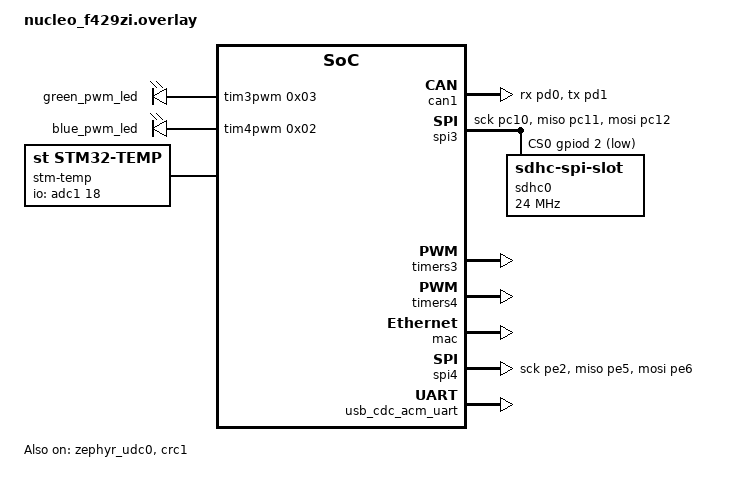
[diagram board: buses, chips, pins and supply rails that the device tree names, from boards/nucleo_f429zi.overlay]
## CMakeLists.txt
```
#
# Copyright (c) 2022 Lucas Dietrich <ld.adecy@gmail.com>
#
# SPDX-License-Identifier: Apache-2.0
#

# Read: https://github.com/zephyrproject-rtos/zephyr/blob/zephyr-v3.0.0/cmake/extensions.cmake#L33-L43

cmake_minimum_required(VERSION 3.13.1)

# Set where zephyr should look for custom boards
set(BOARD_ROOT ${CMAKE_CURRENT_SOURCE_DIR}/.)

# set following variables before calling the cmake command
if (NOT DEFINED BOARD)
    set(BOARD nucleo_f429zi)
endif()

if (BOARD STREQUAL "nucleo_f429zi")
    # OVERLAY_CONFIG: Additional Kconfig configuration fragment files. 
    # Multiple filenames can be separated with either spaces or semicolons. 
    # This can be useful in order to leave CONF_FILE at its default value, 
    # but “mix in” some additional configuration options.
    set(OVERLAY_CONFIG "overlays/nucleo_f429zi_spi_disk.conf \
    overlays/nucleo_f429zi_mcuboot.conf \
    overlays/nucleo_f429zi_usb_net.conf \
        ${OVERLAY_CONFIG}")
    message(STATUS "OVERLAY_CONFIG: ${OVERLAY_CONFIG}")

    # DTC_OVERLAY_FILE: One or more devicetree overlay files to use. 
    # Multiple files can be separated with semicolons. 
    # See Set devicetree overlays for examples and Introduction 
    # to devicetree for information about devicetree and Zephyr
    set(DTC_OVERLAY_FILE "${DTC_OVERLAY_FILE}")
    message(STATUS "DTC_OVERLAY_FILE: ${DTC_OVERLAY_FILE}")
endif()

# Debug.conf
# set(OVERLAY_CONFIG "overlays/debug.conf ${OVERLAY_CONFIG}")

set(ZEPHYR_EXTRA_MODULES
    ${CMAKE_CURRENT_SOURCE_DIR}/modules/lua
    ${CMAKE_CURRENT_SOURCE_DIR}/modules/caniot-lib
    ${CMAKE_CURRENT_SOURCE_DIR}/modules/embedc-url
)

find_package(Zephyr)

project(caniot-controller)

# This is terrible, try to move this to a dedicated CMakeLists.txt file
# 
set(embedded_lua_scripts "")
if(DEFINED CONFIG_APP_LUA_FS_DEFAULT_SCRIPTS)
    file(GLOB luascripts "${CMAKE_SOURCE_DIR}/scripts/lua/*.lua")
    file(GLOB officialscripts "${CMAKE_SOURCE_DIR}/modules/lua/testes/*.lua")
        list (APPEND luascripts ${officialscripts})
    foreach(file ${luascripts})
        get_filename_component(filename ${file} NAME)
        get_filename_component(filepath ${file} PATH)
        message(STATUS "embedding ${filepath}/${filename} into elf")
        add_custom_command(
            OUTPUT ${CMAKE_CURRENT_BINARY_DIR}/embluaobj/${filename}.o
            WORKING_DIRECTORY ${filepath}
            COMMAND ${CMAKE_OBJCOPY}
            ARGS -I binary --output-target elf32-i386 --binary-architecture i386 ${filename} ${CMAKE_CURRENT_BINARY_DIR}/embluaobj/${filename}.o
        )
        # Find a way to automatically choose output-target and binary-architecture
        #   e.g. using : $<TARGET_PROPERTY:bintools,elfconvert_flag_outtarget>
        list(APPEND embedded_lua_scripts ${CMAKE_CURRENT_BINARY_DIR}/embluaobj/${filename}.o)
    endforeach()
endif()

target_sources(app PRIVATE ${embedded_lua_scripts})

zephyr_linker_sources(SECTIONS iterables.ld)

# ======= SOURCE FILES =======
add_subdirectory(src)

# ======= INCLUDE FILES =======
zephyr_include_directories(${APPLICATION_SOURCE_DIR}/src/mbedtls_config)

target_include_directories(app PRIVATE src)
target_include_directories(app PRIVATE modules)

# ======= LINK MBEDTLS WITH APPLICATION =======
zephyr_library_link_libraries_ifdef(CONFIG_MBEDTLS mbedTLS)
```

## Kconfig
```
#
# Copyright (c) 2022 Lucas Dietrich <ld.adecy@gmail.com>
#
# SPDX-License-Identifier: Apache-2.0
#

menu "Application configuration: CANIOT Controller"

# Your application configuration options go here

# Sources Kconfig.zephyr in the Zephyr root directory.
#
# Note: All 'source' statements work relative to the Zephyr root directory (due
# to the $srctree environment variable being set to $ZEPHYR_BASE). If you want
# to 'source' relative to the current Kconfig file instead, use 'rsource' (or a
# path relative to the Zephyr root).

rsource "./src/cantcp/Kconfig"
rsource "./src/dfu/Kconfig"
rsource "./src/http_server/Kconfig"
rsource "./src/discovery_server/Kconfig"
rsource "./src/lua/Kconfig"
rsource "./src/ha/Kconfig"
rsource "./src/creds/Kconfig"
rsource "./src/cloud/Kconfig"
rsource "./src/fs/Kconfig"
rsource "./src/ble/Kconfig"
rsource "./src/can/Kconfig"
rsource "./src/mbedtls_config/Kconfig"

menu "Miscellaneous"

config APP_SYSTEM_MONITORING
        bool "Enable system monitoring"
        select CONFIG_MBEDTLS_MEMORY_DEBUG
        default n
        help
                Enable system monitoring e.g. (mbedTLS heap usage, ...)

config APP_BIG_BUFFER_TO_CCM
        bool "Place big buffers in CCM memory"
        # depends on CONFIG_STM32_CCM
        # depends on SOC_SERIES_STM32F4X
        default n
        help
                Place application big buffer in CCM location

config APP_PRINTF_1SEC_COUNTER
        bool "Enable 1 second counter in printf"
        default n
        depends on QEMU_TARGET
        help
                Enable 1 second counter in printf

# artificaly enable HAL_CRC drivers from STM32CUBE
# read : https://github.com/zephyrproject-rtos/zephyr/issues/37543
config MY_STM32_HAL
        bool "Enable STM32 HAL drivers (custom)"
        default n
        depends on SOC_FAMILY_STM32
        select USE_STM32_HAL_CRC
        select USE_STM32_HAL_GPIO
        
endmenu

endmenu # caniot-controller

menu "Zephyr RTOS Configuration"

source "Kconfig.zephyr"

endmenu
```

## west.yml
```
# Copyright (c) 2021 Nordic Semiconductor ASA
# SPDX-License-Identifier: Apache-2.0

manifest:
  self:
    path: zephyr-caniot-controller

  remotes:
    - name: zephyrproject-rtos
      url-base: https://github.com/zephyrproject-rtos
    - name: zephyrproject-rtos-fork
      url-base: https://github.com/lucasdietrich
      
  projects:
    - name: zephyr
      remote: zephyrproject-rtos-fork
      revision: caniot-controller-v4.0.0 # A project revision can be a branch, tag, or SHA.
      import: true
      
```

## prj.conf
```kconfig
# https://docs.zephyrproject.org/latest/reference/kconfig/index-all.html

# -----------------------------------------------------------------------------

# CONFIG_KERNEL_BIN_NAME="zephyr"

# -----------------------------------------------------------------------------

# Print a banner on the UART on startup.
CONFIG_BOOT_BANNER=y

# -----------------------------------------------------------------------------

# GENERAL

# fs function needs a lot of stack/ram in general
CONFIG_MAIN_STACK_SIZE=2048

# https://docs.zephyrproject.org/latest/reference/kernel/threads/workqueue.html#configuration-options
CONFIG_SYSTEM_WORKQUEUE_STACK_SIZE=2048
CONFIG_SYSTEM_WORKQUEUE_PRIORITY=-1
CONFIG_SYSTEM_WORKQUEUE_NO_YIELD=n

CONFIG_INIT_STACKS=y

CONFIG_TIMEOUT_64BIT=y

CONFIG_POSIX_API=y

CONFIG_NEWLIB_LIBC=y
CONFIG_NEWLIB_LIBC_NANO=n
CONFIG_NEWLIB_LIBC_MIN_REQUIRED_HEAP_SIZE=4096
CONFIG_NEWLIB_LIBC_FLOAT_PRINTF=y
CONFIG_NEWLIB_LIBC_FLOAT_SCANF=y

CONFIG_HEAP_MEM_POOL_SIZE=2048
CONFIG_SYS_HEAP_RUNTIME_STATS=y

CONFIG_POLL=y

# CONFIG_CBPRINTF_PACKAGE_LOG_LEVEL_ERR=y

# -----------------------------------------------------------------------------

# LOGGING
# https://docs.zephyrproject.org/latest/reference/logging/index.html
CONFIG_LOG=y
CONFIG_PRINTK=y

# CONFIG_CONSOLE=y
# CONFIG_UART_CONSOLE=y
# CONFIG_STDOUT_CONSOLE=y

CONFIG_CBPRINTF_FP_SUPPORT=y

# CONFIG_LOG_STRDUP_MAX_STRING=64
# CONFIG_LOG_STRDUP_BUF_COUNT=42
# CONFIG_LOG_BUFFER_SIZE=2048
# CONFIG_LOG_MODE_DEFERRED=n

# enable to immediate while debugging or when having immediate response is needed
# disable to log time sensitive functions (need a bit more RAM for a thread and pools)
CONFIG_LOG_MODE_IMMEDIATE=n


# -----------------------------------------------------------------------------

# DEBUG
CONFIG_ASSERT=n
# CONFIG_ASSERT_ON_ERRORS=y
# CONFIG_NO_RUNTIME_CHECKS=n
CONFIG_RUNTIME_ERROR_CHECKS=y


CONFIG_THREAD_MONITOR=n

# https://docs.zephyrproject.org/latest/guides/flash_debug/thread-analyzer.html
# -> disable CONFIG_LOG_MODE_IMMEDIATE when using THREAD analyser
CONFIG_THREAD_NAME=y
CONFIG_THREAD_ANALYZER=n            
# CONFIG_THREAD_ANALYZER_USE_PRINTK=n
# CONFIG_THREAD_ANALYZER_USE_LOG=y
# CONFIG_THREAD_ANALYZER_AUTO=y
# CONFIG_THREAD_ANALYZER_AUTO_INTERVAL=10
# THREAD_ANALYZER_AUTO_STACK_SIZE
CONFIG_THREAD_RUNTIME_STATS=y

# -----------------------------------------------------------------------------

CONFIG_NETWORKING=y
CONFIG_NET_UDP=y
CONFIG_NET_TCP=y

CONFIG_NET_IPV4=y
CONFIG_NET_IPV6=n
CONFIG_NET_TCP=y
CONFIG_NET_ARP=y
CONFIG_NET_UDP=y

CONFIG_NET_STATISTICS=y
CONFIG_NET_STATISTICS_USER_API=y
CONFIG_NET_STATISTICS_IPV4=y
CONFIG_NET_STATISTICS_ICMP=y
CONFIG_NET_STATISTICS_TCP=y
CONFIG_NET_STATISTICS_UDP=y

CONFIG_NET_CONNECTION_MANAGER=n

CONFIG_NET_HOSTNAME_ENABLE=y
CONFIG_NET_HOSTNAME="caniot-ctrl"
CONFIG_POSIX_UNAME_NODENAME_LEN=12

# TO DEBUG
# CONFIG_NET_DRIVERS=y
# CONFIG_NET_LOOPBACK=y
# CONFIG_NET_LOOPBACK_LOG_LEVEL_DBG=y
CONFIG_NET_IF_MAX_IPV4_COUNT=2

CONFIG_NET_MGMT=y
CONFIG_NET_MGMT_EVENT=y
CONFIG_NET_MGMT_EVENT_LOG_LEVEL_INF=y

CONFIG_NET_SOCKETS=y

CONFIG_NET_SOCKETS_SOCKOPT_TLS=y
CONFIG_NET_SOCKETS_TLS_MAX_CONTEXTS=4
CONFIG_NET_SOCKETS_TLS_MAX_CLIENT_SESSION_COUNT=4

CONFIG_NET_DEFAULT_IF_ETHERNET=y

CONFIG_NET_SOCKETS_TLS_PEER_VERIFY_CALLBACK=y

# 2 for HTTPS server + 1 CA if peer verification is enabled
# 3 for AWS IoT
CONFIG_TLS_MAX_CREDENTIALS_NUMBER=6

# https://github.com/zephyrproject-rtos/zephyr/issues/39705
# incompatible with CONFIG_POSIX_API option
# CONFIG_NET_SOCKETS_POSIX_NAMES=y

CONFIG_NET_BUF_DATA_SIZE=128

CONFIG_NET_PKT_RX_COUNT=16
CONFIG_NET_BUF_RX_COUNT=36

CONFIG_NET_PKT_TX_COUNT=48
CONFIG_NET_BUF_TX_COUNT=192

# CONFIG_NET_TCP_MAX_SEND_WINDOW_SIZE=16384
# CONFIG_NET_TCP_MAX_RECV_WINDOW_SIZE=16384

CONFIG_DNS_RESOLVER=y
CONFIG_DNS_RESOLVER_ADDITIONAL_BUF_CTR=1
CONFIG_DNS_RESOLVER_ADDITIONAL_QUERIES=1
CONFIG_DNS_RESOLVER_AI_MAX_ENTRIES=1

CONFIG_DNS_RESOLVER_MAX_SERVERS=1

CONFIG_DNS_RESOLVER_LOG_LEVEL_DBG=n

# CONFIG_DNS_RESOLVER_AUTO_INIT=y
# CONFIG_MDNS_RESOLVER=y
# CONFIG_LLMNR_RESOLVER=n
# CONFIG_DNS_RESOLVER_MAX_SERVERS=2
# CONFIG_DNS_SERVER_IP_ADDRESSES=y
# CONFIG_DNS_NUM_CONCUR_QUERIES=5

# https://docs.zephyrproject.org/latest/reference/kconfig/CONFIG_DNS_SERVER1.html#std-kconfig-CONFIG_DNS_SERVER1
# Set CONFIG_DNS_RESOLVER_MAX_SERVERS to 2 if enabling next configuration option
# CONFIG_DNS_SERVER_IP_ADDRESSES=y
# CONFIG_DNS_SERVER1="192.168.10.6"

# Config SNTP
CONFIG_SNTP=y
CONFIG_SNTP_LOG_LEVEL_DBG=n

CONFIG_NET_LOG=y
# IMPORTANT - CONFIG_NET_SOCKETS_LOG_LEVEL_DBG should also be enabled when debugging MBEDTLS stack
CONFIG_NET_SOCKETS_LOG_LEVEL_DBG=n
CONFIG_NET_IF_LOG_LEVEL_DBG=n
CONFIG_NET_TCP_LOG_LEVEL_DBG=n
CONFIG_NET_UDP_LOG_LEVEL_DBG=n
CONFIG_NET_CONFIG_LOG_LEVEL_DBG=n
CONFIG_NET_L2_ETHERNET_LOG_LEVEL_INF=n
CONFIG_NET_CORE_LOG_LEVEL_DBG=n
CONFIG_NET_CONN_LOG_LEVEL_DBG=n

CONFIG_NET_CONFIG_SETTINGS=n
CONFIG_NET_CONFIG_AUTO_INIT=n
CONFIG_NET_CONFIG_CLOCK_SNTP_INIT=n
CONFIG_NET_CONFIG_NEED_IPV6=n
CONFIG_NET_CONFIG_NEED_IPV4=n

CONFIG_NET_MAX_CONN=12
CONFIG_NET_MAX_CONTEXTS=14
CONFIG_POSIX_MAX_FDS=16
CONFIG_NET_SOCKETS_POLL_MAX=7

# https://docs.zephyrproject.org/latest/reference/kconfig/CONFIG_NET_TCP_TIME_WAIT_DELAY.html#std-kconfig-CONFIG_NET_TCP_TIME_WAIT_DELAY
# free TCP context immediately when closed
CONFIG_NET_TCP_TIME_WAIT_DELAY=0

# https://docs.zephyrproject.org/latest/reference/kconfig/CONFIG_NET_TCP_BACKLOG_SIZE.html#std-kconfig-CONFIG_NET_TCP_BACKLOG_SIZE
# CONFIG_NET_TCP_BACKLOG_SIZE=5

# -----------------------------------------------------------------------------

CONFIG_MBEDTLS_BUILTIN=y

# we disable heap as we will allocate it manually in CCM using mbedtls_memory_buffer_alloc_init
CONFIG_MBEDTLS_ENABLE_HEAP=n
# CONFIG_MBEDTLS_HEAP_SIZE=65536

CONFIG_MBEDTLS_SSL_MAX_CONTENT_LEN=10240
CONFIG_NET_SOCKETS_TLS_SET_MAX_FRAGMENT_LENGTH=y

# TODO: Evaluate use of following options
# CONFIG_CUSTOM_MBEDTLS_CFG_FILE=y
# CONFIG_MBEDTLS_CFG_FILE="config-mini-tls1_2.h"

CONFIG_MBEDTLS_CFG_FILE="config-tls-generic.h"
CONFIG_MBEDTLS_USER_CONFIG_ENABLE=y
CONFIG_MBEDTLS_USER_CONFIG_FILE="mbedtls-cfg.h"

CONFIG_MBEDTLS_CIPHER=y

# CONFIG_MBEDTLS_ALL=y
# CONFIG_MBEDTLS_MD4=y
# CONFIG_MBEDTLS_MD5=y
# CONFIG_MBEDTLS_SHA1=y
CONFIG_MBEDTLS_SHA256=y
CONFIG_MBEDTLS_SHA384=y
CONFIG_MBEDTLS_SHA512=y
# CONFIG_MBEDTLS_POLY1305=y
# CONFIG_MBEDTLS_CMAC=y

# CONFIG_MBEDTLS_CIPHER_ALL_ENABLED=y
# CONFIG_MBEDTLS_CIPHER_AES_ENABLED=y
# CONFIG_MBEDTLS_CIPHER_CAMELLIA_ENABLED=y
# CONFIG_MBEDTLS_CIPHER_DES_ENABLED=y
# CONFIG_MBEDTLS_CIPHER_ARC4_ENABLED=y
# CONFIG_MBEDTLS_CIPHER_CHACHA20_ENABLED=y
# CONFIG_MBEDTLS_CIPHER_BLOWFISH_ENABLED=y
# CONFIG_MBEDTLS_CIPHER_CCM_ENABLED=y
CONFIG_MBEDTLS_CIPHER_GCM_ENABLED=y
# CONFIG_MBEDTLS_CIPHER_MODE_XTS_ENABLED=y
CONFIG_MBEDTLS_CIPHER_MODE_CBC_ENABLED=y
# CONFIG_MBEDTLS_CIPHER_MODE_CTR_ENABLED=y
# CONFIG_MBEDTLS_CHACHAPOLY_AEAD_ENABLED=y

CONFIG_MBEDTLS_KEY_EXCHANGE_ALL_ENABLED=y
# CONFIG_MBEDTLS_KEY_EXCHANGE_PSK_ENABLED=y
# CONFIG_MBEDTLS_KEY_EXCHANGE_DHE_PSK_ENABLED=y
# CONFIG_MBEDTLS_KEY_EXCHANGE_ECDHE_PSK_ENABLED=y
# CONFIG_MBEDTLS_KEY_EXCHANGE_RSA_PSK_ENABLED=y
# CONFIG_MBEDTLS_KEY_EXCHANGE_RSA_ENABLED=y
# CONFIG_MBEDTLS_KEY_EXCHANGE_DHE_RSA_ENABLED=y
# CONFIG_MBEDTLS_KEY_EXCHANGE_ECDHE_RSA_ENABLED=y
# CONFIG_MBEDTLS_KEY_EXCHANGE_ECDHE_ECDSA_ENABLED=y
# CONFIG_MBEDTLS_KEY_EXCHANGE_ECDH_ECDSA_ENABLED=y
# CONFIG_MBEDTLS_KEY_EXCHANGE_ECDH_RSA_ENABLED=y
# CONFIG_MBEDTLS_KEY_EXCHANGE_ECJPAKE_ENABLED=y

CONFIG_MBEDTLS_ECP_C=y
CONFIG_MBEDTLS_ECDH_C=y
CONFIG_MBEDTLS_ECDSA_C=y
CONFIG_MBEDTLS_ECJPAKE_C=y

CONFIG_MBEDTLS_ECP_ALL_ENABLED=y
# CONFIG_MBEDTLS_ECP_DP_SECP192R1_ENABLED=y
# CONFIG_MBEDTLS_ECP_DP_SECP192R1_ENABLED=y
# CONFIG_MBEDTLS_ECP_DP_SECP224R1_ENABLED=y
# CONFIG_MBEDTLS_ECP_DP_SECP256R1_ENABLED=y
# CONFIG_MBEDTLS_ECP_DP_SECP384R1_ENABLED=y
# CONFIG_MBEDTLS_ECP_DP_SECP521R1_ENABLED=y
# CONFIG_MBEDTLS_ECP_DP_SECP192K1_ENABLED=y
# CONFIG_MBEDTLS_ECP_DP_SECP224K1_ENABLED=y
# CONFIG_MBEDTLS_ECP_DP_SECP256K1_ENABLED=y
# CONFIG_MBEDTLS_ECP_DP_BP256R1_ENABLED=y
# CONFIG_MBEDTLS_ECP_DP_BP384R1_ENABLED=y
# CONFIG_MBEDTLS_ECP_DP_BP512R1_ENABLED=y
# CONFIG_MBEDTLS_ECP_DP_CURVE25519_ENABLED=y
# CONFIG_MBEDTLS_ECP_DP_CURVE448_ENABLED=y
# CONFIG_MBEDTLS_ECP_NIST_OPTIM=y

CONFIG_MBEDTLS_PEM_CERTIFICATE_FORMAT=y

# Enable hardware acceleration
CONFIG_CRYPTO=y

# Enable hardware entropy generator
CONFIG_ENTROPY_GENERATOR=y

# don't use test random generator in production
CONFIG_TEST_RANDOM_GENERATOR=n

CONFIG_MBEDTLS_TLS_VERSION_1_2=y
# CONFIG_MBEDTLS_TLS_VERSION_1_3=y

# Debug
CONFIG_MBEDTLS_DEBUG=n
CONFIG_MBEDTLS_LOG_LEVEL_DBG=n
CONFIG_MBEDTLS_MEMORY_DEBUG=y

# -----------------------------------------------------------------------------

CONFIG_MPU_ALLOW_FLASH_WRITE=y

CONFIG_FLASH=y
CONFIG_FLASH_MAP=y
CONFIG_FLASH_PAGE_LAYOUT=y

CONFIG_NVS=y
CONFIG_NVS_LOG_LEVEL_DBG=y

CONFIG_FILE_SYSTEM=y
CONFIG_FILE_SYSTEM_MAX_TYPES=1

CONFIG_DISK_ACCESS=y
CONFIG_DISK_LOG_LEVEL_DBG=y

CONFIG_FAT_FILESYSTEM_ELM=y
CONFIG_FS_FATFS_EXFAT=y
CONFIG_FS_LOG_LEVEL_INF=y

# -----------------------------------------------------------------------------

CONFIG_ZVFS_EVENTFD=y
CONFIG_ZVFS_EVENTFD_MAX=2

# -----------------------------------------------------------------------------

CONFIG_HTTP_CLIENT=y
CONFIG_HTTP_PARSER=y
CONFIG_JSON_LIBRARY=y

# -----------------------------------------------------------------------------

CONFIG_MQTT_LIB=y
CONFIG_MQTT_LIB_TLS=y
CONFIG_MQTT_KEEPALIVE=60
# CONFIG_MQTT_LOG_LEVEL_DBG=y

# -----------------------------------------------------------------------------

CONFIG_SYS_MEM_BLOCKS=y

# -----------------------------------------------------------------------------

# CONFIG_PICOLIBC_MODULE=y

# -----------------------------------------------------------------------------

CONFIG_LUA=n
# CONFIG_APP_LUA_FS_DEFAULT_SCRIPTS=y
# CONFIG_APP_LUA_AUTORUN_SCRIPTS=y

# -----------------------------------------------------------------------------

CONFIG_APP_DISCOVERY_SERVER=y
# CONFIG_APP_DISCOVERY_SERVER_LOG_LEVEL=4

# -----------------------------------------------------------------------------

CONFIG_APP_CLOUD=y

# -----------------------------------------------------------------------------

CONFIG_APP_HTTP_SERVER=y
CONFIG_APP_HTTP_REQUEST_HEADERS_BUFFER_SIZE=352
CONFIG_APP_HTTP_SERVER_NONSECURE=y
CONFIG_APP_HTTP_SERVER_SECURE=y
CONFIG_APP_HTTP_SERVER_VERIFY_CLIENT=y

# -----------------------------------------------------------------------------

CONFIG_EMBEDC_URL_PARSER=y
```

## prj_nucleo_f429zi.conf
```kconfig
# -----------------------------------------------------------------------------

# Application specific

CONFIG_DISCOVERY_SERVER=y
# CONFIG_DISCOVERY_SERVER_LOG_LEVEL=4

CONFIG_MAX_HTTP_CONNECTIONS=3

CONFIG_SYSTEM_MONITORING=y

CONFIG_CANTCP_SERVER=n

CONFIG_CANIOT_CONTROLLER=y

CONFIG_BLE_CONTROLLER=y

CONFIG_HTTP_TEST_SERVER=y

# -----------------------------------------------------------------------------

# CONFIG_LOG_BUFFER_SIZE=2048
# CONFIG_LOG_MODE_DEFERRED=n

# enable to immediate while debugging or when having immediate response is needed
# disable to log time sensitive functions (need a bit more RAM for a thread and pools)

# -----------------------------------------------------------------------------

CONFIG_ENTROPY_DEVICE_RANDOM_GENERATOR=y

CONFIG_ETH_STM32_HAL_RANDOM_MAC=n
CONFIG_ETH_STM32_HAL_MAC3=0x77
CONFIG_ETH_STM32_HAL_MAC4=0x77
CONFIG_ETH_STM32_HAL_MAC5=0x77

# not entropy in delay
CONFIG_NET_DHCPV4=y
CONFIG_NET_DHCPV4_INITIAL_DELAY_MAX=2
CONFIG_NET_DHCPV4_LOG_LEVEL_DBG=n

# -----------------------------------------------------------------------------

CONFIG_SHELL=n
CONFIG_NET_SHELL=n
CONFIG_FLASH_SHELL=n

# -----------------------------------------------------------------------------

CONFIG_CAN=y
CONFIG_CAN_INIT_PRIORITY=80
CONFIG_CAN_MAX_FILTER=5
# this is default
# CONFIG_CAN_LOOPBACK_TX_MSGQ_SIZE=16
# CONFIG_CAN_LOOPBACK_TX_THREAD_PRIORITY=2
# CONFIG_CAN_LOOPBACK_TX_THREAD_STACK_SIZE=256
CONFIG_CAN_LOG_LEVEL_DBG=n
CONFIG_CAN_LOOPBACK=n

# -----------------------------------------------------------------------------

CONFIG_GPIO=y
CONFIG_PWM=y
CONFIG_PWM_LOG_LEVEL_DBG=y

# -----------------------------------------------------------------------------

CONFIG_SERIAL=y
CONFIG_UART_ASYNC_API=y
CONFIG_DMA_LOG_LEVEL_DBG=y
# CONFIG_UART_STM32=y (autoselected)

# -----------------------------------------------------------------------------

CONFIG_ADC=y
CONFIG_ADC_LOG_LEVEL_DBG=n

# -----------------------------------------------------------------------------

CONFIG_SENSOR=y
CONFIG_STM32_TEMP=y

# -----------------------------------------------------------------------------

CONFIG_UART_IPC=y
CONFIG_UART_IPC_FULL=y
CONFIG_UART_IPC_DEBUG_GPIO_STM32=y
CONFIG_UART_IPC_PING=y
CONFIG_UART_IPC_PING_PERIOD=1000
CONFIG_UART_IPC_STATS=y
CONFIG_UART_IPC_EVENT_API=y

# -----------------------------------------------------------------------------

CONFIG_CANIOT_LIB=y
CONFIG_CANIOT_LOG_LEVEL=2
CONFIG_CANIOT_ASSERT=n
CONFIG_CANIOT_MAX_PENDING_QUERIES=6
CONFIG_CANIOT_DRIVERS_API=n
CONFIG_CANIOT_CTRL_DRIVERS_API=y

# -----------------------------------------------------------------------------

CONFIG_MY_STM32_HAL=y

# -----------------------------------------------------------------------------
```

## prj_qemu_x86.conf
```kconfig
# -----------------------------------------------------------------------------

# Application specific

CONFIG_DISCOVERY_SERVER=y
# CONFIG_DISCOVERY_SERVER_LOG_LEVEL=4

CONFIG_MAX_HTTP_CONNECTIONS=3

CONFIG_SYSTEM_MONITORING=y

CONFIG_CANTCP_SERVER=n

CONFIG_CANIOT_CONTROLLER=n

CONFIG_BLE_CONTROLLER=n

CONFIG_HTTP_TEST_SERVER=y

# -----------------------------------------------------------------------------

CONFIG_ENTROPY_DEVICE_RANDOM_GENERATOR=n
CONFIG_TEST_RANDOM_GENERATOR=y

# -----------------------------------------------------------------------------

CONFIG_USE_DT_CODE_PARTITION=n

# -----------------------------------------------------------------------------

CONFIG_QEMU_ICOUNT=n

# -----------------------------------------------------------------------------

CONFIG_NET_LOG=y
CONFIG_NET_SOCKETS_LOG_LEVEL_DBG=n

# Network application options and configuration for QEMU
CONFIG_NET_CONFIG_SETTINGS=y
CONFIG_NET_CONFIG_NEED_IPV6=y
CONFIG_NET_CONFIG_MY_IPV6_ADDR="2001:db8::1"
CONFIG_NET_CONFIG_PEER_IPV6_ADDR="2001:db8::2"
CONFIG_NET_CONFIG_NEED_IPV4=y
CONFIG_NET_CONFIG_MY_IPV4_ADDR="192.0.2.1"
CONFIG_NET_CONFIG_PEER_IPV4_ADDR="192.0.2.2"

CONFIG_NET_CONFIG_MY_IPV4_GW="192.0.2.2"

CONFIG_NET_CONFIG_AUTO_INIT=y
CONFIG_NET_CONFIG_CLOCK_SNTP_INIT=n

CONFIG_NET_DHCPV4=n

CONFIG_DNS_RESOLVER_MAX_SERVERS=1
CONFIG_DNS_SERVER_IP_ADDRESSES=y
CONFIG_DNS_SERVER1="192.168.10.6"
CONFIG_DNS_RESOLVER_LOG_LEVEL_DBG=n

CONFIG_NET_SOCKETS_DNS_TIMEOUT=5000

CONFIG_NET_STATISTICS=y
CONFIG_NET_STATISTICS_USER_API=y
CONFIG_NET_STATISTICS_IPV4=y
CONFIG_NET_STATISTICS_ICMP=y
CONFIG_NET_STATISTICS_TCP=y
CONFIG_NET_STATISTICS_UDP=y

CONFIG_NET_BUF_DATA_SIZE=512
# default 36
CONFIG_NET_PKT_RX_COUNT=256
CONFIG_NET_PKT_TX_COUNT=256
CONFIG_NET_BUF_RX_COUNT=256
CONFIG_NET_BUF_TX_COUNT=256

# -----------------------------------------------------------------------------

CONFIG_CANIOT_LIB=y
CONFIG_CANIOT_LOG_LEVEL=2
CONFIG_CANIOT_ASSERT=n
CONFIG_CANIOT_MAX_PENDING_QUERIES=6
CONFIG_CANIOT_DRIVERS_API=n
CONFIG_CANIOT_CTRL_DRIVERS_API=y

# -----------------------------------------------------------------------------

CONFIG_SHELL=n

# Net shell(s)
# https://docs.zephyrproject.org/latest/services/shell/index.html#shell-api
# https://docs.zephyrproject.org/latest/connectivity/networking/api/net_shell.html

CONFIG_NET_SHELL=n
# CONFIG_NET_ROUTE=y

# -----------------------------------------------------------------------------

# CONFIG_LOG_STRDUP_MAX_STRING=64
# CONFIG_LOG_STRDUP_BUF_COUNT=42
# CONFIG_LOG_BUFFER_SIZE=2048
# CONFIG_LOG_MODE_DEFERRED=n

# enable to immediate while debugging or when having immediate response is needed
# disable to log time sensitive functions (need a bit more RAM for a thread and pools)
CONFIG_LOG_MODE_IMMEDIATE=y
# -----------------------------------------------------------------------------

CONFIG_ASSERT=y
```

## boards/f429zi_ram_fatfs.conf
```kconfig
# We need to free space in SRAM for RAM FAT FS and for libc HEAP
CONFIG_MBEDTLS_CUSTOM_HEAP_SIZE=32768
CONFIG_MBEDTLS_CUSTOM_HEAP_CCM=y
CONFIG_APP_BIG_BUFFER_TO_CCM=y

# File system

# If using FATFS in RAM with low memory, you'll need to decrease the 
# RAMDISK_SECTOR_SIZE value in zephyr/drivers/disk/ramdisk.c
# (it would be great to make it configurable, but it's not possible at the moment)
CONFIG_DISK_DRIVER_RAM=y
CONFIG_DISK_RAM_VOLUME_SIZE=64
CONFIG_DISK_RAM_VOLUME_NAME="RAM"

CONFIG_FS_FATFS_MOUNT_MKFS=y
```

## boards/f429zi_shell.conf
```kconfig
CONFIG_SHELL=y

CONFIG_FLASH_SHELL=y

CONFIG_HEAP_MEM_POOL_SIZE=2048
CONFIG_FILE_SYSTEM_SHELL=y

# Net shell(s)
# https://docs.zephyrproject.org/latest/services/shell/index.html#shell-api
# https://docs.zephyrproject.org/latest/connectivity/networking/api/net_shell.html
CONFIG_NET_SHELL=y
# CONFIG_NET_ROUTE=y
```

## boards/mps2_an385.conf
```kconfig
# -----------------------------------------------------------------------------

# QEMU specific

# Adjust these parameters ...

CONFIG_PRINTK=y
CONFIG_QEMU_ICOUNT=y
CONFIG_QEMU_ICOUNT_SLEEP=y

CONFIG_APP_PRINTF_1SEC_COUNTER=n

# -----------------------------------------------------------------------------

# Application specific

CONFIG_APP_HTTP_MAX_SESSIONS=8
CONFIG_APP_HTTP_TEST=y
CONFIG_APP_HTTP_TEST_SERVER=y

CONFIG_APP_SYSTEM_MONITORING=y

CONFIG_APP_CANTCP_SERVER=n

CONFIG_APP_CAN_INTERFACE=n
CONFIG_APP_BLE_INTERFACE=n
CONFIG_APP_HA_CANIOT_CONTROLLER=y

CONFIG_APP_MBEDTLS_CUSTOM_HEAP_SIZE=65536
CONFIG_APP_MBEDTLS_CUSTOM_HEAP_CCM=n

# CONFIG_APP_LUA_FS_DEFAULT_SCRIPTS=y
# CONFIG_APP_LUA_AUTORUN_SCRIPTS=n

CONFIG_APP_HA_EMULATED_DEVICES=y

CONFIG_APP_CREDS_HARDCODED=y
CONFIG_APP_CREDS_FLASH=n
CONFIG_APP_CREDS_FS=n

CONFIG_APP_FILE_ACCESS_HISTORY=n

# -----------------------------------------------------------------------------

CONFIG_ENTROPY_DEVICE_RANDOM_GENERATOR=n
CONFIG_TEST_RANDOM_GENERATOR=y

# -----------------------------------------------------------------------------

CONFIG_NET_LOG=y
CONFIG_NET_SOCKETS_LOG_LEVEL_DBG=n

# Network application options and configuration for QEMU
CONFIG_NET_CONFIG_SETTINGS=y
CONFIG_NET_CONFIG_NEED_IPV6=y
CONFIG_NET_CONFIG_MY_IPV6_ADDR="2001:db8::1"
CONFIG_NET_CONFIG_PEER_IPV6_ADDR="2001:db8::2"
CONFIG_NET_CONFIG_NEED_IPV4=y
CONFIG_NET_CONFIG_MY_IPV4_ADDR="192.0.2.1"
CONFIG_NET_CONFIG_PEER_IPV4_ADDR="192.0.2.2"

CONFIG_NET_CONFIG_MY_IPV4_GW="192.0.2.2"

CONFIG_NET_CONFIG_AUTO_INIT=y
CONFIG_NET_CONFIG_CLOCK_SNTP_INIT=n

CONFIG_NET_DHCPV4=n

CONFIG_DNS_RESOLVER_MAX_SERVERS=1
CONFIG_DNS_SERVER_IP_ADDRESSES=y
CONFIG_DNS_SERVER1="192.168.10.6"
CONFIG_DNS_RESOLVER_LOG_LEVEL_DBG=n

CONFIG_NET_SOCKETS_DNS_TIMEOUT=5000

CONFIG_NET_STATISTICS=y
CONFIG_NET_STATISTICS_USER_API=y
CONFIG_NET_STATISTICS_IPV4=y
CONFIG_NET_STATISTICS_ICMP=y
CONFIG_NET_STATISTICS_TCP=y
CONFIG_NET_STATISTICS_UDP=y

# Increase to 512 in case of problems
CONFIG_NET_BUF_DATA_SIZE=236

# default 36
# Increase to 256 in case of problems
CONFIG_NET_PKT_RX_COUNT=256
CONFIG_NET_PKT_TX_COUNT=256
CONFIG_NET_BUF_RX_COUNT=256
CONFIG_NET_BUF_TX_COUNT=256

# -----------------------------------------------------------------------------

CONFIG_CANIOT_LIB=y
CONFIG_CANIOT_LOG_LEVEL=2
CONFIG_CANIOT_ASSERT=n
CONFIG_CANIOT_MAX_PENDING_QUERIES=12
CONFIG_CANIOT_DRIVERS_API=n
CONFIG_CANIOT_CTRL_DRIVERS_API=y

# -----------------------------------------------------------------------------

# CONFIG_LOG_STRDUP_MAX_STRING=64
# CONFIG_LOG_STRDUP_BUF_COUNT=42
# CONFIG_LOG_BUFFER_SIZE=2048
# CONFIG_LOG_MODE_DEFERRED=n

# enable to immediate while debugging or when having immediate response is needed
# disable to log time sensitive functions (need a bit more RAM for a thread and pools)
CONFIG_LOG_MODE_IMMEDIATE=n
# -----------------------------------------------------------------------------

CONFIG_ASSERT=y

# -----------------------------------------------------------------------------

CONFIG_DISK_DRIVER_RAM=y

# -----------------------------------------------------------------------------

CONFIG_SHELL=y

CONFIG_FLASH_SHELL=y

CONFIG_HEAP_MEM_POOL_SIZE=16384

CONFIG_FILE_SYSTEM_SHELL=y

# Net shell(s)
# https://docs.zephyrproject.org/latest/services/shell/index.html#shell-api
# https://docs.zephyrproject.org/latest/connectivity/networking/api/net_shell.html
CONFIG_NET_SHELL=y
# CONFIG_NET_ROUTE=y


# -----------------------------------------------------------------------------

CONFIG_MAIN_STACK_SIZE=4096

# -----------------------------------------------------------------------------

CONFIG_APP_CLOUD=n
# CONFIG_APP_AWS_ENDPOINT="a31gokdeokxhl8-ats.iot.eu-west-1.amazonaws.com"
# CONFIG_APP_AWS_THING_NAME="qemu_caniot_controller"
```

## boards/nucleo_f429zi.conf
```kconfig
# -----------------------------------------------------------------------------

# Application specific

CONFIG_APP_HTTP_MAX_SESSIONS=8
CONFIG_APP_HTTP_TEST=n
CONFIG_APP_HTTP_TEST_SERVER=n

CONFIG_APP_SYSTEM_MONITORING=y
CONFIG_APP_CANTCP_SERVER=n

CONFIG_APP_CAN_INTERFACE=y
CONFIG_APP_BLE_INTERFACE=y

CONFIG_APP_HA_CANIOT_CONTROLLER=y

CONFIG_APP_HA_EMULATED_DEVICES=n


CONFIG_APP_CREDS_HARDCODED=n
CONFIG_APP_CREDS_FLASH=y
CONFIG_APP_CREDS_FS=n

CONFIG_APP_HA=y

# -----------------------------------------------------------------------------

# use code partition defined in the .overlay files
CONFIG_USE_DT_CODE_PARTITION=y

# -----------------------------------------------------------------------------

# CONFIG_LOG_BUFFER_SIZE=2048
# CONFIG_LOG_MODE_DEFERRED=n

# enable to immediate while debugging or when having immediate response is needed
# disable to log time sensitive functions (need a bit more RAM for a thread and pools)

# -----------------------------------------------------------------------------

CONFIG_ENTROPY_DEVICE_RANDOM_GENERATOR=y

# not entropy in delay
CONFIG_NET_DHCPV4=y
CONFIG_NET_DHCPV4_INITIAL_DELAY_MAX=2
CONFIG_NET_DHCPV4_LOG_LEVEL_DBG=n

# requires an additional thread
CONFIG_NET_CONNECTION_MANAGER=n

# -----------------------------------------------------------------------------

CONFIG_CAN=y
CONFIG_CAN_INIT_PRIORITY=80
CONFIG_CAN_DEFAULT_BITRATE=500000
# CONFIG_CAN_MAX_FILTER=5 # Cannot be changed

# this is default
# CONFIG_CAN_LOOPBACK_TX_MSGQ_SIZE=16
# CONFIG_CAN_LOOPBACK_TX_THREAD_PRIORITY=2
# CONFIG_CAN_LOOPBACK_TX_THREAD_STACK_SIZE=256
CONFIG_CAN_LOG_LEVEL_DBG=n
CONFIG_CAN_LOOPBACK=n

# -----------------------------------------------------------------------------

CONFIG_GPIO=y
CONFIG_PWM=y
CONFIG_PWM_LOG_LEVEL_DBG=y

# -----------------------------------------------------------------------------

CONFIG_SERIAL=y
CONFIG_UART_ASYNC_API=y
CONFIG_DMA_LOG_LEVEL_DBG=n
# CONFIG_UART_STM32=y (autoselected)

# -----------------------------------------------------------------------------

CONFIG_ADC=y
CONFIG_ADC_LOG_LEVEL_DBG=n

# -----------------------------------------------------------------------------

CONFIG_SENSOR=y
CONFIG_STM32_TEMP=y

# -----------------------------------------------------------------------------

# BLE
CONFIG_BT=y
CONFIG_BT_OBSERVER=y

CONFIG_BT_CENTRAL=y
CONFIG_BT_GATT_CLIENT=y
CONFIG_BT_MAX_CONN=2
CONFIG_BT_BUF_ACL_RX_COUNT=6

# BLE HCI
CONFIG_SPI=y
CONFIG_SPI_STM32_DMA=y

CONFIG_BT_HCI=y
# CONFIG_BT_SPI=y
CONFIG_BT_CTLR=n

# CONFIG_BT_RX_STACK_SIZE=1200

CONFIG_BT_LOG_LEVEL_DBG=n
# Enable following configuration if CONFIG_BT_LOG_LEVEL_DBG is enabled
# CONFIG_BT_HCI_TX_STACK_SIZE_WITH_PROMPT=y
# CONFIG_BT_HCI_TX_STACK_SIZE=2018

# -----------------------------------------------------------------------------

CONFIG_CANIOT_LIB=y
CONFIG_CANIOT_LOG_LEVEL=2
CONFIG_CANIOT_ASSERT=n
CONFIG_CANIOT_MAX_PENDING_QUERIES=6
CONFIG_CANIOT_DRIVERS_API=n
CONFIG_CANIOT_CTRL_DRIVERS_API=y

# -----------------------------------------------------------------------------

CONFIG_MY_STM32_HAL=y

# -----------------------------------------------------------------------------

# CONFIG_APP_CLOUD=n
CONFIG_APP_AWS=y
CONFIG_APP_AWS_ENDPOINT="a31gokdeokxhl8-ats.iot.eu-west-1.amazonaws.com"
CONFIG_APP_AWS_THING_NAME="caniot_controller"

# -----------------------------------------------------------------------------

CONFIG_APP_DFU=y

# -----------------------------------------------------------------------------

CONFIG_SDHC_LOG_LEVEL_DBG=n
```

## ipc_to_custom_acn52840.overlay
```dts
&uart7
{
        current-speed = < 19200 >;
};
```

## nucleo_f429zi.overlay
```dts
#include "dt-bindings/pinctrl/stm32-pinctrl-common.h"

&can1 {
        status = "okay";
        pinctrl-0 = <&can1_rx_pd0 &can1_tx_pd1>;
        bus-speed = <500000>;

        sample-point = <875>; /* recommended value */
        sjw = <0x1>;
};

/ {
        aliases {
                led-net = &green_led_1;
                led-thread = &red_led_1;
                led-can = &blue_led_1;
                sw0 = &user_button;

		ipc-uart = &uart7;
		ipc-uart-7 = &uart7;
		ipc-uart-8 = &uart8;
        };

        soc {
		// ahb1
		crc1: crc@40023000 {
			compatible = "st,stm32-crc";
			reg = <0x40023000 0x400>;
			label = "STM32_CRC";
			status = "okay"; // okay
		};
	};
};

/* order matters */
/delete-node/ &boot_partition;
/delete-node/ &storage_partition;
/delete-node/ &slot0_partition;
/delete-node/ &slot1_partition;
/delete-node/ &scratch_partition;

&flash0 {
        // flash size is 0x200000
        partitions {
                compatible = "fixed-partitions";
                #address-cells = <0x1>;
                #size-cells = <0x1>;
                application_partition: partition@0 {
                        label = "application";
                        reg = <0x0 DT_SIZE_K(1024)>;
                };
                storage_partition: partition@100000 {
			label = "storage";
			reg = <0x100000 DT_SIZE_K(64)>;
		};
                certificates_partition: partition@1e0000 {
                        label = "certificates";
                        reg = <0x1e0000 DT_SIZE_K(128)>;
                };
        };
};

/**
 * https: //docs.zephyrproject.org/2.7.0/reference/devicetree/bindings/pwm/st,stm32-pwm.html
 *
 * According to UM1974 (page 24) and "STM32F427xx STM32F429xx product datasheet" page 76
 * 
 * - LD1 (green user led) is connected to PB0
 * 	- AF1 (alternate function 1) : TIM1_CH2N
 * 	- AF2 : TIM3_CH3 (choosen)
 * 	- AF3 : TIM8_CH2N
 * - LD2 (blue user led) is connected to PB7
 * 	- AF2 : TIM4_CH2 (choosen)
 * - LD3 (red user led) is connected to PB14
 * 	- AF1: TIM1_CH2N
 * 	- AF3 : TIM8_CH2N (choosen)
 * 
 * - "These user LEDs are on when the I/O is HIGH value, and are off when the I/O is LOW."
 * 
 * - https://docs.zephyrproject.org/2.7.0/reference/devicetree/bindings/pwm/st,stm32-pwm.html
 */
&timers3 {
        status = "okay";
        tim3pwm: pwm {
                st,prescaler = <8399>; /* depreciated, should be moved 1 layer above (i.e. to timers3) */
                status = "okay";
                pinctrl-0 = <&tim3_ch3_pb0>;
        };
};

&timers4 {
        status = "okay";
        tim4pwm: pwm {
                st,prescaler = <8399>; /* depreciated */
                status = "okay";
                pinctrl-0 = <&tim4_ch2_pb7>;
        };
};

/* complementary pwm channels not supported by st,stm32-pwm for now 
 * Read : https://github.com/zephyrproject-rtos/zephyr/issues/38629
 */

/*
&timers8 {
        status = "okay";
        tim8pwm: pwm {
                st,prescaler = <8399>;  // depreciated
                status = "okay";
                pinctrl-0 = < &tim8_ch2n_pb14 >; // <&tim8_ch2n_pb14 &tim8_ch2_pc7>; STM32_PINMUX('B', 14, AF3)
        };
};
*/

/ {
        pwmleds {
                compatible = "pwm-leds";
                green_pwm_led: led_pwm_0 {
                        status = "okay";
                        pwms = <&tim3pwm 0x03 1000000 PWM_POLARITY_NORMAL>;
                };
                blue_pwm_led: led_pwm_1 {
                        status = "okay";
                        pwms = <&tim4pwm 0x02 1000000 PWM_POLARITY_NORMAL>;
                };
                /*
                red_pwm_led: led_pwm_2 {
                        status = "okay";
                        pwms = <&tim8pwm 0x02 1000000 PWM_POLARITY_NORMAL>;
                };
                */
        };
};

&dma1 {
	status = "okay";
};

// https://docs.zephyrproject.org/latest/reference/devicetree/bindings/serial/st,stm32-uart.html?highlight=stm32%20uart
&uart8 {
	status = "okay";
	current-speed = <1000000>; // 1000000
	// hw-flow-control;
	pinctrl-0 = <&uart8_tx_pe1 &uart8_rx_pe0>;

	// https://docs.zephyrproject.org/latest/reference/devicetree/bindings/dma/st%2Cstm32-dma-v1.html

	// RM0090 rev 19 page 307/1751 : DMA1
	// UART8_TX chan 5 stream 0
	// UART8_RX chan 5 stream 6

	// see :
	// - tests/drivers/uart/uart_async_api/boards/nucleo_f429zi.overlay
	// or ...
	// - tests/drivers/uart/uart_async_api/boards/disco_l475_iot1.overlay
	// - tests/drivers/uart/uart_async_api/boards/nucleo_f103rb.overlay
	// - tests/drivers/uart/uart_async_api/boards/nucleo_f207zg.overlay


	dmas =  < &dma1 0 5 0x440 0x3>, /* dma channel stream-slot channel-config features */
		< &dma1 6 5 0x480 0x3 >; 
	dma-names = "tx", "rx";
};

/* Read https://github.com/zephyrproject-rtos/zephyr/issues/34763 */

// https://docs.zephyrproject.org/latest/build/dts/api/bindings/serial/st,stm32-uart.html
&uart7 {
	status = "okay";

        // Note: Clean and rebuild when changing this value !
	current-speed = < 1000000 >; // 1200, 115200, 1000000 
	// hw-flow-control;
	pinctrl-0 = <&uart7_tx_pe8 &uart7_rx_pe7>;

	// https://docs.zephyrproject.org/latest/build/dts/api/bindings/dma/st,stm32-dma.html

	// RM0090 rev 19 page 307/1751 : DMA1
	// UART7_TX chan 5 stream 1
	// UART7_RX chan 5 stream 3

	// see :
	// - tests/drivers/uart/uart_async_api/boards/nucleo_f429zi.overlay
	// or ...
	// - tests/drivers/uart/uart_async_api/boards/disco_l475_iot1.overlay
	// - tests/drivers/uart/uart_async_api/boards/nucleo_f103rb.overlay
	// - tests/drivers/uart/uart_async_api/boards/nucleo_f207zg.overlay


        /* dma channel stream-slot channel-config features */
	dmas =  < &dma1 1 5 0x440 0x3>, 
		< &dma1 3 5 0x480 0x3>; 
	dma-names = "tx", "rx";
};

/*
Sample application : https://github.com/zephyrproject-rtos/zephyr/tree/main/samples/sensor/stm32_temp_sensor/boards
 */
/ {
        stm-temp {
                label = "DIE_TEMP";
                compatible = "st,stm32-temp";
                io-channels = < &adc1 18 >;
                // ts-voltage-mv = < 3300 >;
                avgslope = < 25 >;
                v25 = < 760 >;
                status = "okay";
        };
};

/* platformio doesn't show the correct FLASH usage 
 * when using overlay with custom partitions
 * 
 * Morever pio doesn't show CCM usage;
 */
/ {
        chosen {
                zephyr,code-partition = &application_partition;
        };
};

/ {
        chosen {
                zephyr,console = &usart3;
                zephyr,shell-uart = &usart3;
        };
};

// &usart2 {
// 	status = "okay";
//         current-speed = < 115200 >;
// };


/* Second can bus isn't supported yet */
// &can2 {
//         status = "okay";
//         bus-speed = < 500000 >;
// };
```

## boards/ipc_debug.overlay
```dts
&uart7
{
        current-speed = < 1000000 >;
};
```

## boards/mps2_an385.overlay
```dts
&eth0 {
	status = "disabled";
};

/ {
	ramdisk0 {
		compatible = "zephyr,ram-disk";
		disk-name = "RAM";
		sector-size = <512>;
		sector-count = <4096>;
	};
};
```

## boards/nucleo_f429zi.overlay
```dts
#include "dt-bindings/pinctrl/stm32-pinctrl-common.h"

&can1 {
        status = "okay";
        pinctrl-names  = "default";
        pinctrl-0 = <&can1_rx_pd0 &can1_tx_pd1>;

        sample-point = <875>; /* recommended value */
};

/ {
        aliases {
                led-net = &green_led_1;
                led-thread = &red_led_1;
                led-can = &blue_led_1;
                sw0 = &user_button;

		ipc-uart = &uart7;
		ipc-uart-7 = &uart7;
		ipc-uart-8 = &uart8;
        };

        soc {
		// ahb1
		crc1: crc@40023000 {
			compatible = "st,stm32-crc";
			reg = <0x40023000 0x400>;
			label = "STM32_CRC";
			status = "okay"; // okay
		};
	};
};

/* order matters */
/delete-node/ &boot_partition;
/delete-node/ &storage_partition;
/delete-node/ &slot0_partition;
/delete-node/ &slot1_partition;
/delete-node/ &scratch_partition;

&flash0 {
        // flash size is 0x200000
        partitions {
                compatible = "fixed-partitions";
                #address-cells = <0x1>;
                #size-cells = <0x1>;
                /* 64KB for bootloader */
                boot_partition: partition@0 {
                        label = "mcuboot";
                        reg = <0x0 DT_SIZE_K(64)>;
                        read-only;
                };
                /* Credentials partition */
                credentials_partition: partition@10000 {
                        label = "credentials";
                        reg = <0x00010000 DT_SIZE_K(64)>;
                };
		/* application image slot: 896KB = 7*128KB */
		slot0_partition: partition@20000 {
			label = "image-0";
			reg = <0x00020000 DT_SIZE_K(768)>; /* 6 * 128KB sectors */
		};
                /* The scratch area must have a size that is enough to store at 
                 * least the largest sector that is going to be swapped */
                /* swap slot: 128Kb */
                scratch_partition: partition@e0000 {
			label = "image-scratch";
			reg = <0x00e0000 DT_SIZE_K(128)>;
		};
                storage_partition: partition@100000 {
			label = "storage";
			reg = <0x00100000 DT_SIZE_K(64)>;
		};
                misc1: partition@110000 {
			label = "misc1";
			reg = <0x00110000 DT_SIZE_K(64)>;
		};
		/* backup slot: 768KB = 6*128KB */
		slot1_partition: partition@120000 {
			label = "image-1";
			reg = <0x00120000 DT_SIZE_K(768)>;
		};
                misc2: partition@1e0000 {
			label = "misc2";
			reg = <0x001e0000 DT_SIZE_K(128)>;
		};
        };
};

/* SPI SD card controller
 *
 * https://github.com/zephyrproject-rtos/zephyr/issues/35561
 * For 2.7.2 / 3.0.0, it seems to change a bit with 3.1.0
 */
&spi3 {
        status = "okay";
        cs-gpios = <&gpiod 2 GPIO_ACTIVE_LOW>;
        pinctrl-0 = < &spi3_sck_pc10 &spi3_miso_pc11 &spi3_mosi_pc12 >;
        pinctrl-names = "default";
        
        /* SPI device 0 */
        sdhc0: sdhc@0 {
                compatible = "zephyr,sdhc-spi-slot"; /* formerly zephyr,mmc-spi-slot */
                reg = <0>;
                status = "okay";
                spi-max-frequency = <24000000>;  // 24000000, 400000
		sdmmc_disk: mmc {
			compatible = "zephyr,sdmmc-disk";
			status = "okay";
                        disk-name = "SD";
		};
        };
};

/**
 * https: //docs.zephyrproject.org/2.7.0/reference/devicetree/bindings/pwm/st,stm32-pwm.html
 *
 * According to UM1974 (page 24) and "STM32F427xx STM32F429xx product datasheet" page 76
 * 
 * - LD1 (green user led) is connected to PB0
 * 	- AF1 (alternate function 1) : TIM1_CH2N
 * 	- AF2 : TIM3_CH3 (choosen)
 * 	- AF3 : TIM8_CH2N
 * - LD2 (blue user led) is connected to PB7
 * 	- AF2 : TIM4_CH2 (choosen)
 * - LD3 (red user led) is connected to PB14
 * 	- AF1: TIM1_CH2N
 * 	- AF3 : TIM8_CH2N (choosen)
 * 
 * - "These user LEDs are on when the I/O is HIGH value, and are off when the I/O is LOW."
 * 
 * - https://docs.zephyrproject.org/2.7.0/reference/devicetree/bindings/pwm/st,stm32-pwm.html
 */
&timers3 {
        status = "okay";
        st,prescaler = <8399>; /* depreciated, should be moved 1 layer above (i.e. to timers3) */
        tim3pwm: pwm {
                pinctrl-names  = "default";
                status = "okay";
                pinctrl-0 = <&tim3_ch3_pb0>;
        };
};

&timers4 {
        status = "okay";
        st,prescaler = <8399>; /* depreciated */
        tim4pwm: pwm {
                pinctrl-names  = "default";
                status = "okay";
                pinctrl-0 = <&tim4_ch2_pb7>;
        };
};

/* complementary pwm channels not supported by st,stm32-pwm for now 
 * Read : https://github.com/zephyrproject-rtos/zephyr/issues/38629
 */

/*
&timers8 {
        status = "okay";
        st,prescaler = <8399>;  // depreciated
        tim8pwm: pwm {
                status = "okay";
                pinctrl-0 = < &tim8_ch2n_pb14 >; // <&tim8_ch2n_pb14 &tim8_ch2_pc7>; STM32_PINMUX('B', 14, AF3)
        };
};
*/

/ {
        pwmleds {
                compatible = "pwm-leds";
                green_pwm_led: led_pwm_0 {
                        status = "okay";
                        pwms = <&tim3pwm 0x03 1000000 PWM_POLARITY_NORMAL>;
                };
                blue_pwm_led: led_pwm_1 {
                        status = "okay";
                        pwms = <&tim4pwm 0x02 1000000 PWM_POLARITY_NORMAL>;
                };
                /*
                red_pwm_led: led_pwm_2 {
                        status = "okay";
                        pwms = <&tim8pwm 0x02 1000000 PWM_POLARITY_NORMAL>;
                };
                */
        };
};

/*
Sample application : https://github.com/zephyrproject-rtos/zephyr/tree/main/samples/sensor/stm32_temp_sensor/boards
 */
/ {
        stm-temp {
                compatible = "st,stm32-temp";
                io-channels = < &adc1 18 >;
                // ts-voltage-mv = < 3300 >;
                
                // stm32f429zi datasheet: 2.5 mV/°C
                avgslope = "2.5";
                v25 = < 760 >;
                status = "okay";
        };
};

/* platformio doesn't show the correct FLASH usage 
 * when using overlay with custom partitions
 * 
 * Morever pio doesn't show CCM usage;
 */
/ {
        chosen {
                zephyr,code-partition = &slot0_partition;
        };
};

/ {
        chosen {
                zephyr,console = &usart3;
                zephyr,shell-uart = &usart3;
                zephyr,bt-hci = &hci_spi;
        };
};

&mac {
        local-mac-address = [00 00 00 77 77 77];
        status = "okay"; /* Set to disable to use USB interface only */
};


/* BLE HCI interface */
&spi4 {
        status = "okay";
        cs-gpios = <&gpioe 4 (GPIO_ACTIVE_LOW | GPIO_PULL_UP)>;
        pinctrl-0 = <&spi4_sck_pe2 &spi4_miso_pe5 &spi4_mosi_pe6>;
        pinctrl-names = "default";

        /* RM0090 rev 19 page 307-308/1751 : DMA1
	 * UART8_TX chan 5 stream 0
	 * UART8_RX chan 5 stream 6
         */

	/* <&dma stream-slot channel channel-config features */

        /* TX DMA 2 stream slot 4 channel 5 MEM (inc) to PERIPH (inc), prio high
         * RX DMA 2 stream slot 5 channel 5 PERIPH (inc) to MEM (inc), prio high
         */
        dmas = <&dma2 4 5 0x20440 0x03 
                &dma2 3 5 0x20480 0x03>;
        dma-names = "tx", "rx";

        hci_spi: hci@0 {
                compatible = "zephyr,bt-hci-spi";
                reg = <0>;
                irq-gpios = <&gpioe 3 (GPIO_ACTIVE_HIGH | GPIO_PULL_DOWN)>;
                reset-gpios = <&gpiog 3 (GPIO_ACTIVE_LOW | GPIO_PULL_UP)>;
                spi-max-frequency = <2000000>; /* 2MHz */
        };
};

&dma2 {
	status = "okay";
};

&gpiog {
        status = "okay";
};

/* Second can bus isn't supported yet */
// &can2 {
//         status = "okay";
//         bus-speed = < 500000 >;
// };

&zephyr_udc0 {
        status = "okay";
        usb_cdc_acm_uart: cdc-acm-uart {
                compatible = "zephyr,cdc-acm-uart";
        };
};
```

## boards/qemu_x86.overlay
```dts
/* For later use */
/ {
	fstab {
		compatible = "zephyr,fstab";
		lfs: lfs {
			compatible = "zephyr,fstab,littlefs";
			mount-point = "/lfs";
			partition = <&lfs_partition>;
			automount;
			read-size = <16>;
			prog-size = <16>;
			cache-size = <64>;
			lookahead-size = <32>;
			block-cycles = <512>;
		};
	};
	ramdisk0 {
		compatible = "zephyr,ram-disk";
		disk-name = "RAM";
		sector-size = <512>;
		sector-count = <1024>;
	};
};

/delete-node/ &storage_partition;
/delete-node/ &slot0_partition;
/delete-node/ &slot1_partition;
/delete-node/ &eepromemu_partition;

&flash_sim0 {
	compatible = "soc-nv-flash";
	reg = < 0x0 0x60000 >;
	erase-block-size = < 0x400 >;
	write-block-size = < 0x4 >;
	partitions {
		compatible = "fixed-partitions";
		#address-cells = < 0x1 >;
		#size-cells = < 0x1 >;
		storage_partition: partition@0 {
			label = "storage";
			reg = < 0x0 0x10000 >;
			phandle = < 0x3 >;
		};
		slot0_partition: partition@10000 {
			label = "image-0";
			reg = < 0x10000 0x10000 >;
		};
		slot1_partition: partition@20000 {
			label = "image-1";
			reg = < 0x20000 0x10000 >;
		};
		eepromemu_partition: partition@30000 {
			label = "eeprom-emu";
			reg = < 0x30000 0x10000 >;
			phandle = < 0x2 >;
		};
		credentials_partition: partition@40000 {
			label = "credentials";
			reg = < 0x40000 0x10000 >;
		};
		lfs_partition: partition@50000 {
			label = "littlefs";
			reg = < 0x50000 0x10000 >;
		};
	};
};
```

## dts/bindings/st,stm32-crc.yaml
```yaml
# https://docs.zephyrproject.org/latest/guides/dts/bindings.html

# A high level description of the device the binding applies to:
description: |
   Bindings for CRC peripheral of STM32

compatible: "st,stm32-crc"

properties:
  reg:
    type: array
    description: CRC peripheral MMIO register space
    required: true
  label:
    type: string
    description: STM32 CRC peripheral
    required: false
```

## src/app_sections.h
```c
/*
 * Copyright (c) 2022 Lucas Dietrich <ld.adecy@gmail.com>
 *
 * SPDX-License-Identifier: Apache-2.0
 */

#ifndef _APP_SECTIONS_H_
#define _APP_SECTIONS_H_

#include <zephyr/kernel.h>

/* only in ARM CORTEX context */
#if defined(CONFIG_APP_BIG_BUFFER_TO_CCM)
#define __buf_data_section	 __ccm_data_section
#define __buf_bss_section	 __ccm_bss_section
#define __buf_noinit_section __ccm_noinit_section
#else
#define __buf_data_section
#define __buf_bss_section
#define __buf_noinit_section __noinit
#endif

#endif /* _APP_CONFIG_H_ */
```

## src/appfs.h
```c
/*
 * Copyright (c) 2022 Lucas Dietrich <ld.adecy@gmail.com>
 *
 * SPDX-License-Identifier: Apache-2.0
 */

#ifndef _APP_FS_H_
#define _APP_FS_H_

#include <stddef.h>

#include <zephyr/fs/fs.h>

/**
 * @brief Initialize the application file system(s)
 *
 * @return int
 */
int app_fs_init(void);

/**
 * @brief Create a file at the given path and copy the given buffer into it
 *
 * @param fpath Path to the file to be created
 * @param data Buffer to copy into the file
 * @param size Size of the buffer
 * @return int
 */
int app_fs_file_add(const char *fpath, const char *data, size_t size);

/**
 * @brief Use this function when iterating over the files in a directory.
 * @param path is the path to the directory.
 * @param cb is the callback function to be call for each file.
 * @param user_data is a pointer to the user data to be passed to the callback.
 */
typedef bool (*app_fs_iterate_fs_cb_t)(const char *path,
				       struct fs_dirent *dirent,
				       void *user_data);

/**
 * @brief Iterate over the files in a directory.
 *
 * @param path
 * @param callback
 * @param user_data
 * @return int
 */
int app_fs_iterate_dir_files(const char *path,
			     app_fs_iterate_fs_cb_t callback,
			     void *user_data);

/**
 * @brief Append a slash ('/') to the beginning of the path if it doesn't have
 * one. and copy the result to the output buffer.
 *
 * @param path
 * @param out_path
 * @param out_size
 * @return int
 */
int app_fs_filepath_normalize(const char *path, char *out_path, size_t out_size);

/*____________________________________________________________________________*/

/**
 * @brief Debug function, Get stats of FS:
 *
 * Example:
 * 	/SD:/
 * 	/RAM:/
 *
 * @param abs_path
 * @return int
 */
int app_fs_stats(const char *abs_path);

/**
 * @brief Debug function, listing all files and directories in a given path
 *
 * @param path
 * @return int
 */
int app_fs_lsdir(const char *path);

/**
 * @brief Create a directory and all its parents if they don't exist
 *
 * @param path
 * @param is_filepath Tells whether the path contains the filename or not
 * @return int Negative value on error, 0 on success
 */
int app_fs_mkdir_intermediate(const char *path, bool is_filepath);

#endif /* _APP_FS_H_ */
```

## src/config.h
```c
/*
 * Copyright (c) 2022 Lucas Dietrich <ld.adecy@gmail.com>
 *
 * SPDX-License-Identifier: Apache-2.0
 */

#ifndef _APP_CONFIG_H_
#define _APP_CONFIG_H_

#include <zephyr/kernel.h>

/* off-zephyr checks and configuration */

#endif /* _APP_CONFIG_H_ */
```
